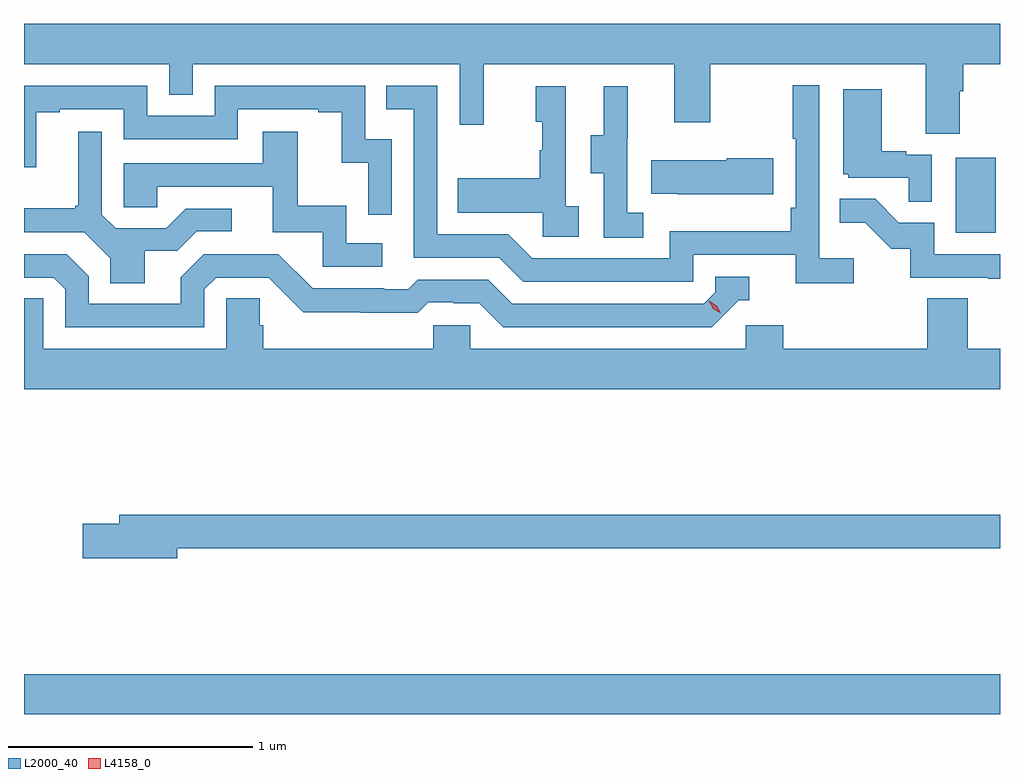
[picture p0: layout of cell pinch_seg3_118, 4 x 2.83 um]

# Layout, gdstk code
import gdstk
lib = gdstk.Library(unit=1e-6, precision=1e-09)
def R(c, l, rs):  # rectangles x0, y0, x1, y1
    for r in rs: c.add(gdstk.rectangle(r[:2], r[2:], *l))
def P(c, l, *ps):  # polygons
    for p in ps: c.add(gdstk.Polygon(p, *l))
L2000_40 = (2000, 40)
L4158_0 = (4158, 0)

pinch_seg3_118 = lib.new_cell('pinch_seg3_118')
R(pinch_seg3_118, L2000_40, [(1078.403,712.904,1082.403,713.068), (1082.222,714.876,1082.386,715.183)])
P(pinch_seg3_118, L2000_40, [(1078.403,715.568),(1078.998,715.568),(1078.998,715.441),(1079.094,715.441),(1079.094,715.568),(1080.189,715.568),(1080.189,715.32),(1080.287,715.32),(1080.287,715.568),(1081.067,715.568),(1081.067,715.329),(1081.215,715.329),(1081.215,715.568),(1082.099,715.568),(1082.099,715.282),(1082.239,715.282),(1082.239,715.456),(1082.252,715.456),(1082.252,715.568),(1082.403,715.568),(1082.403,715.732),(1078.403,715.732)],
  [(1081.804,714.772),(1081.662,714.772),(1081.662,715.48),(1081.554,715.48),(1081.554,715.261),(1081.566,715.261),(1081.566,714.979),(1081.546,714.979),(1081.546,714.883),(1081.05,714.883),(1081.05,714.771),(1080.486,714.771),(1080.387,714.87),(1080.096,714.87),(1080.096,715.479),(1079.887,715.479),(1079.887,715.383),(1080,715.383),(1080,714.774),(1080.35,714.774),(1080.449,714.675),(1081.146,714.675),(1081.146,714.786),(1081.565,714.786),(1081.565,714.67),(1081.804,714.67)],
  [(1079.91,715.26),(1079.802,715.26),(1079.802,715.479),(1079.184,715.479),(1079.184,715.356),(1078.908,715.356),(1078.908,715.479),(1078.403,715.479),(1078.403,715.145),(1078.453,715.145),(1078.453,715.371),(1078.549,715.371),(1078.549,715.383),(1078.812,715.383),(1078.812,715.26),(1079.28,715.26),(1079.28,715.383),(1079.609,715.383),(1079.609,715.371),(1079.705,715.371),(1079.705,715.163),(1079.814,715.163),(1079.814,714.951),(1079.91,714.951)],
  [(1080.676,714.986),(1080.624,714.986),(1080.624,715.477),(1080.5,715.477),(1080.5,715.332),(1080.526,715.332),(1080.526,715.214),(1080.516,715.214),(1080.516,715.099),(1080.181,715.099),(1080.181,714.959),(1080.528,714.959),(1080.528,714.861),(1080.676,714.861)],
  [(1080.94,714.959),(1080.876,714.959),(1080.876,715.263),(1080.878,715.263),(1080.878,715.477),(1080.779,715.477),(1080.779,715.275),(1080.725,715.275),(1080.725,715.12),(1080.78,715.12),(1080.78,714.856),(1080.94,714.856)],
  [(1082.124,715.197),(1082.018,715.197),(1082.018,715.21),(1081.918,715.21),(1081.918,715.465),(1081.76,715.465),(1081.76,715.116),(1081.782,715.116),(1081.782,715.101),(1082.029,715.101),(1082.029,715.003),(1082.124,715.003)],
  [(1078.897,714.802),(1079.032,714.802),(1079.112,714.882),(1079.254,714.882),(1079.254,714.975),(1079.066,714.975),(1078.985,714.894),(1078.779,714.894),(1078.722,714.951),(1078.722,715.291),(1078.625,715.291),(1078.625,714.988),(1078.614,714.988),(1078.614,714.976),(1078.403,714.976),(1078.403,714.879),(1078.65,714.879),(1078.757,714.772),(1078.757,714.67),(1078.897,714.67)],
  [(1079.872,714.834),(1079.724,714.834),(1079.724,714.988),(1079.525,714.988),(1079.525,715.291),(1079.381,715.291),(1079.381,715.161),(1078.812,715.161),(1078.812,714.981),(1078.949,714.981),(1078.949,715.065),(1079.423,715.065),(1079.423,714.879),(1079.628,714.879),(1079.628,714.738),(1079.872,714.738)],
  [(1081.474,715.182),(1081.283,715.182),(1081.283,715.174),(1080.973,715.174),(1080.973,715.037),(1081.081,715.037),(1081.081,715.034),(1081.474,715.034)],
  [(1082.403,714.789),(1082.133,714.789),(1082.133,714.918),(1081.989,714.918),(1081.891,715.016),(1081.747,715.016),(1081.747,714.917),(1081.851,714.917),(1081.958,714.81),(1082.035,714.81),(1082.035,714.693),(1082.353,714.693),(1082.353,714.688),(1082.403,714.688)],
  [(1079.142,714.645),(1079.19,714.693),(1079.406,714.693),(1079.548,714.551),(1079.784,714.551),(1079.784,714.549),(1080.017,714.549),(1080.059,714.591),(1080.162,714.591),(1080.162,714.588),(1080.269,714.588),(1080.368,714.489),(1081.221,714.489),(1081.332,714.6),(1081.375,714.6),(1081.375,714.696),(1081.236,714.696),(1081.236,714.633),(1081.188,714.585),(1080.405,714.585),(1080.306,714.684),(1080.017,714.684),(1079.978,714.645),(1079.879,714.645),(1079.879,714.648),(1079.586,714.648),(1079.445,714.789),(1079.139,714.789),(1079.045,714.695),(1079.045,714.585),(1078.668,714.585),(1078.668,714.699),(1078.578,714.789),(1078.403,714.789),(1078.403,714.693),(1078.524,714.693),(1078.572,714.645),(1078.572,714.489),(1079.142,714.489)],
  [(1082.403,714.4),(1082.27,714.4),(1082.27,714.608),(1082.105,714.608),(1082.105,714.4),(1081.514,714.4),(1081.514,714.498),(1081.362,714.498),(1081.362,714.4),(1080.231,714.4),(1080.231,714.498),(1080.081,714.498),(1080.081,714.4),(1079.384,714.4),(1079.384,714.498),(1079.369,714.498),(1079.369,714.608),(1079.232,714.608),(1079.232,714.4),(1078.482,714.4),(1078.482,714.608),(1078.403,714.608),(1078.403,714.236),(1082.403,714.236)],
  [(1079.032,713.584),(1082.403,713.584),(1082.403,713.72),(1078.793,713.72),(1078.793,713.684),(1078.644,713.684),(1078.644,713.542),(1079.032,713.542)])
P(pinch_seg3_118, L4158_0, [(1081.258,714.546),(1081.227,714.565),(1081.21,714.598),(1081.21,714.598),(1081.211,714.598),(1081.242,714.578),(1081.258,714.546),(1081.258,714.546)])

lib.write_gds('pinch_seg3_118.gds')
